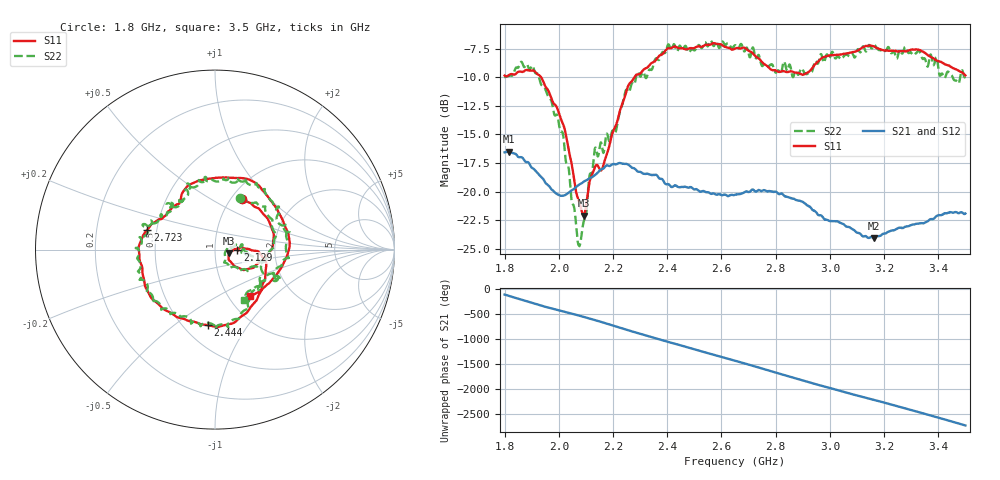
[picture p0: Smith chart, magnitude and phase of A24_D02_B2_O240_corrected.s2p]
! Created with skrf 1.9.0 (http://scikit-rf.org).
# Hz S RI R 50.0
!freq ReS11 ImS11 ReS21 ImS21 ReS12 ImS12 ReS22 ImS22
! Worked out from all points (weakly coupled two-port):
!   1601 points, 1.8 GHz to 3.5 GHz, reference 50 ohm
!   highest |S21| = -16.51 dB at 1.817 GHz (marker M1); lowest = -24.1 dB at 3.163 GHz (marker M2)
!   lowest |S11| = -22.1 dB at 2.092 GHz (marker M3), VSWR 1.17, Z = 58.2 - j2.39 ohm
!   |S11| at or under -10 dB: 1.935 GHz to 2.279 GHz (344.2 MHz wide, 16.3 % of centre)
!   |S22| runs from -24.8 to -6.8 dB; largest |S21 - S12| = 0.0026
!   S11 on the Smith chart (normalised r, x): 1.8 GHz: 1.12, +0.71; 2.129 GHz: 1.28, -0.00; 2.444 GHz: 0.65, -0.67; 2.723 GHz: 0.44, +0.12; 3.5 GHz: 1.25, -0.72
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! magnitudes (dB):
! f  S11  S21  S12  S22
! 1.8 GHz  -9.9  -16.6  -16.6  -10.0
! 1.817 GHz  -9.8  -16.5  -16.5  -9.9
! 1.902 GHz  -9.4  -17.9  -17.9  -9.0
! 1.968 GHz  -11.5  -19.6  -19.7  -11.9
! 2.015 GHz  -14.0  -20.3  -20.4  -14.9
! 2.071 GHz  -20.6  -19.5  -19.5  -24.5
! 2.084 GHz  -21.6  -19.3  -19.2  -23.8
! 2.092 GHz  -22.1  -19.1  -19.2  -22.6
! 2.129 GHz  -18.1  -18.6  -18.6  -16.9
! 2.162 GHz  -17.8  -18.0  -17.9  -16.5
! 2.26 GHz  -10.6  -17.7  -17.7  -11.3
! 2.367 GHz  -8.2  -18.8  -18.7  -8.5
! 2.444 GHz  -7.5  -19.6  -19.6  -7.3
! 2.65 GHz  -7.5  -20.3  -20.2  -7.2
! 2.723 GHz  -8.1  -20.0  -19.9  -8.1
! 2.804 GHz  -9.5  -20.0  -20.1  -9.5
! 2.934 GHz  -9.2  -21.5  -21.5  -9.5
! 3.163 GHz  -7.3  -24.1  -24.0  -7.2
! 3.217 GHz  -7.7  -23.5  -23.5  -7.4
! 3.33 GHz  -7.6  -22.8  -22.8  -7.7
! 3.415 GHz  -8.7  -22.0  -22.0  -9.7
! 3.5 GHz  -9.8  -21.9  -21.9  -9.8
